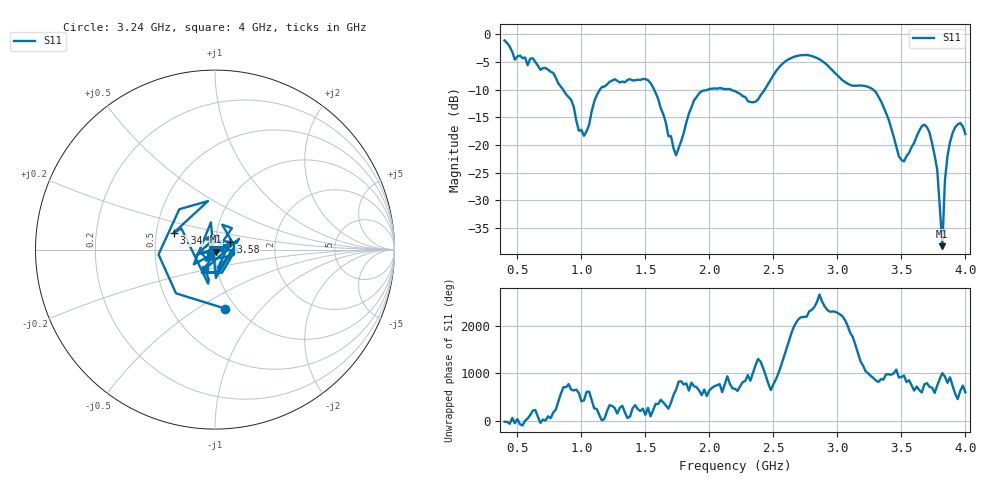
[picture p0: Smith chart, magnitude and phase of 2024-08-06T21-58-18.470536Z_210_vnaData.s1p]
!Created with skrf (http://scikit-rf.org).
# Hz S RI R 50.0
!freq ReS11 ImS11
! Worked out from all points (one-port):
!   181 points, 400 MHz to 4 GHz, reference 50 ohm
!   lowest |S11| = -38.3 dB at 3.82 GHz (marker M1), VSWR 1.02, Z = 50.3 - j1.18 ohm
!   |S11| at or under -10 dB: 856.5 MHz to 1.145 GHz (288.9 MHz wide, 28.9 % of centre); 1.568 GHz to 1.99 GHz (422.6 MHz wide, 23.8 % of centre); 3.279 GHz to end of sweep (the widest 3 of 4)
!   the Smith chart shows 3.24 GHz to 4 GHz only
!   S11 on the Smith chart (normalised r, x): 3.24 GHz: 0.89, -0.66; 3.34 GHz: 0.62, +0.12; 3.58 GHz: 1.18, +0.10; 4 GHz: 0.87, -0.20
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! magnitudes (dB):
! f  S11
! 400 MHz  -1.1
! 480 MHz  -4.6
! 620 MHz  -4.4
! 860 MHz  -10.1
! 1.02 GHz  -18.4
! 1.14 GHz  -10.2
! 1.3 GHz  -8.7
! 1.54 GHz  -8.8
! 1.74 GHz  -21.9
! 1.76 GHz  -20.6
! 1.92 GHz  -10.7
! 2.2 GHz  -10.3
! 2.36 GHz  -12.2
! 2.66 GHz  -4.1
! 3.1 GHz  -9.2
! 3.24 GHz  -9.5
! 3.34 GHz  -12.1
! 3.48 GHz  -22.1
! 3.56 GHz  -21.4
! 3.58 GHz  -20.4
! 3.66 GHz  -16.6
! 3.72 GHz  -17.8
! 3.78 GHz  -24.5
! 3.82 GHz  -38.3
! 3.84 GHz  -26.5
! 3.88 GHz  -19.5
! 3.96 GHz  -16.0
! 4 GHz  -18.0
